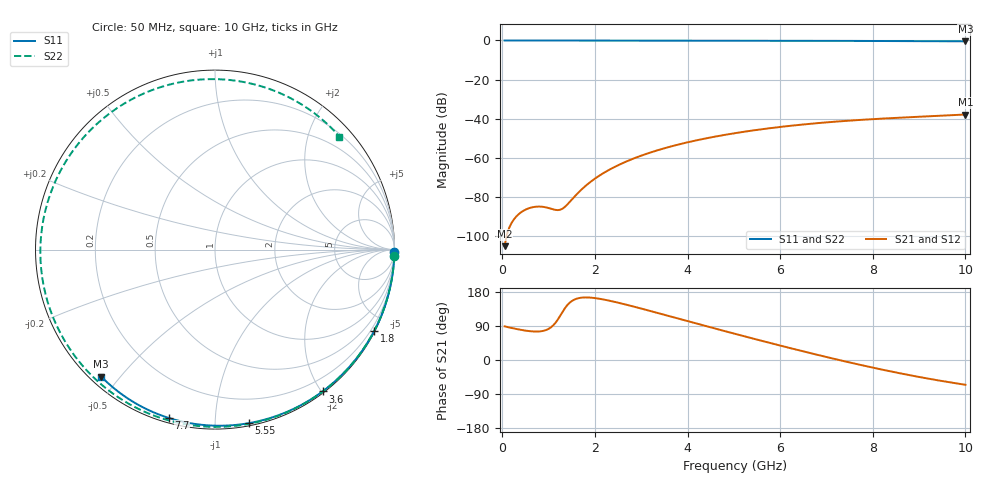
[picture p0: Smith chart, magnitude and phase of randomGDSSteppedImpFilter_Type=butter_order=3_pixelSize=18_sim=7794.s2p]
! freq	dB(S11)	phase(S11)	dB(S12)	phase(S12)
!  dB(S21)	phase(S21)	dB(S22)	phase(S22)
!S-par simulation data
#  GHz  S  DB  R 50
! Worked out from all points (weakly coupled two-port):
!   200 points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, 50 MHz to 10 GHz, reference 50 ohm
!   highest |S21| = -37.81 dB at 10 GHz (marker M1); lowest = -105.0 dB at 50 MHz (marker M2)
!   lowest |S11| = -0.4 dB at 10 GHz (marker M3), VSWR 38.94, Z = 1.54 - j22.3 ohm
!   |S11| at or under -10 dB: nowhere
!   |S22| runs from -0.6 to 0.0 dB; largest |S21 - S12| = 0
!   S11 on the Smith chart (normalised r, x): 50 MHz: open; 1.8 GHz: 0.04, -4.16; 3.6 GHz: 0.02, -2.01; 5.55 GHz: 0.02, -1.22; 7.7 GHz: 0.02, -0.76; 10 GHz: 0.03, -0.45
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0.05  -0.00 -0.8  -105.01 88.8  -105.01 88.8  -0.00 -2.1
0.4  -0.01 -6.1  -87.80 79.6  -87.80 79.6  -0.02 -16.4
0.75  -0.01 -11.4  -84.83 75.1  -84.83 75.1  -0.04 -30.5
1.15  -0.02 -17.4  -86.49 98.4  -86.49 98.4  -0.06 -46.3
1.55  -0.03 -23.3  -79.96 159.0  -79.96 159.0  -0.08 -61.5
1.75  -0.03 -26.3  -75.23 164.9  -75.23 164.9  -0.08 -68.9
1.8  -0.03 -27.0  -74.20 165.1  -74.20 165.1  -0.09 -70.7
2.1  -0.04 -31.4  -68.94 161.6  -68.94 161.6  -0.10 -81.4
2.45  -0.05 -36.5  -64.28 152.8  -64.28 152.8  -0.11 -93.4
2.9  -0.06 -43.0  -59.68 139.0  -59.68 139.0  -0.13 -108.1
3.4  -0.07 -50.0  -55.72 122.6  -55.72 122.6  -0.14 -123.7
3.6  -0.07 -52.8  -54.37 116.0  -54.37 116.0  -0.15 -129.7
4.35  -0.09 -63.1  -50.21 91.1  -50.21 91.1  -0.18 -151.4
5.05  -0.11 -72.4  -47.23 68.2  -47.23 68.2  -0.22 -170.9
5.55  -0.13 -78.9  -45.49 52.2  -45.49 52.2  -0.25 175.4
6.1  -0.15 -85.9  -43.88 35.0  -43.88 35.0  -0.28 160.2
6.7  -0.18 -93.3  -42.43 16.7  -42.43 16.7  -0.32 143.5
7.7  -0.24 -105.4  -40.60 -12.0  -40.60 -12.0  -0.39 114.5
8.35  -0.29 -113.0  -39.71 -29.2  -39.71 -29.2  -0.44 94.8
8.75  -0.32 -117.6  -39.23 -39.0  -39.23 -39.0  -0.47 82.3
9.15  -0.36 -122.2  -38.78 -48.1  -38.78 -48.1  -0.50 69.6
10  -0.45 -131.8  -37.81 -65.4  -37.81 -65.4  -0.57 42.2
